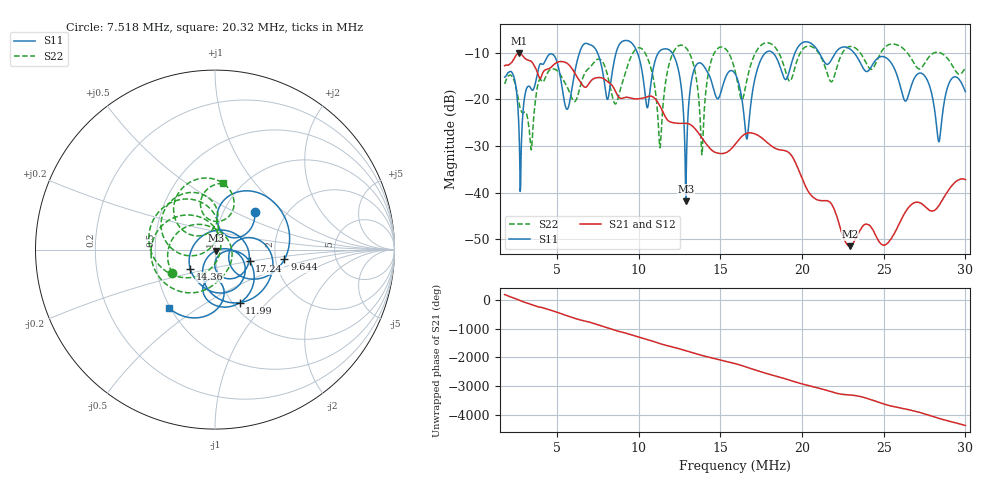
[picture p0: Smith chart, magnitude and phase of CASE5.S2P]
!Agilent Technologies,E5061B,MY49101568,A.02.00
!Date: Wed Mar 01 15:53:55 2023
!Data & Calibration Information:
!Freq	S11:SOLT2(OFF)	S21:SOLT2(OFF)	S12:SOLT2(OFF)	S22:SOLT2(OFF)
# Hz S dB R 50
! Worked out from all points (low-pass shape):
!   1155 points, 1.8 MHz to 30 MHz, reference 50 ohm
!   highest |S21| = -10.07 dB at 2.68 MHz (marker M1); lowest = -51.4 dB at 22.94 MHz (marker M2)
!   |S21| within 3 dB of the highest: start of sweep to 3.661 MHz; 4.661 MHz to 5.855 MHz (1.193 MHz wide, 22.7 % of centre)
!   lowest |S11| = -41.8 dB at 12.89 MHz (marker M3), VSWR 1.02, Z = 50.6 - j0.577 ohm
!   |S11| at or under -10 dB: start of sweep to 6.383 MHz; 12.05 MHz to 17.77 MHz (5.722 MHz wide, 38.4 % of centre); 23.19 MHz to end of sweep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
!   |S22| runs from -31.9 to -7.9 dB; largest |S21 - S12| = 0.0042
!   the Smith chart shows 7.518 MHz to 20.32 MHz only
!   S11 on the Smith chart (normalised r, x): 7.518 MHz: 1.39, +0.65; 9.644 MHz: 2.24, -0.28; 11.99 MHz: 1.07, -0.71; 14.36 MHz: 0.74, -0.16; 17.24 MHz: 1.46, -0.20; 20.32 MHz: 0.49, -0.39
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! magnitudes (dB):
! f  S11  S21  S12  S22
! 1.8 MHz  -15.2  -12.8  -12.8  -16.7
! 2.68 MHz  -26.5  -10.1  -10.1  -20.8
! 3.975 MHz  -12.4  -15.6  -15.6  -15.7
! 6.516 MHz  -8.8  -16.7  -16.6  -16.2
! 7.518 MHz  -10.3  -15.3  -15.2  -11.3
! 8.593 MHz  -10.4  -18.3  -18.3  -21.0
! 9.644 MHz  -8.2  -19.8  -19.8  -10.1
! 10.52 MHz  -21.8  -19.4  -19.5  -11.0
! 11.21 MHz  -10.0  -20.8  -20.8  -25.4
! 11.99 MHz  -9.8  -24.9  -24.9  -11.0
! 12.89 MHz  -41.8  -25.1  -25.2  -8.9
! 13.87 MHz  -12.4  -28.2  -28.3  -31.9
! 14.36 MHz  -15.1  -30.5  -30.5  -12.8
! 15.9 MHz  -14.5  -29.7  -29.7  -13.8
! 16.63 MHz  -28.5  -27.2  -27.3  -15.8
! 17.24 MHz  -13.8  -27.6  -27.7  -9.5
! 20.32 MHz  -7.7  -39.4  -39.4  -8.6
! 20.62 MHz  -8.1  -40.8  -40.8  -8.7
! 22.94 MHz  -9.2  -51.4  -51.4  -8.7
! 25.31 MHz  -11.5  -50.6  -50.4  -8.3
! 28.36 MHz  -29.0  -42.8  -42.8  -9.9
! 30 MHz  -18.3  -37.2  -37.1  -13.2
